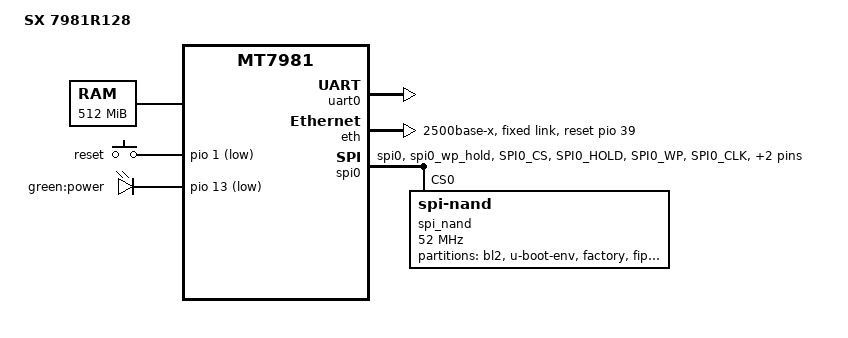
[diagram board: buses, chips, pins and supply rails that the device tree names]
// SPDX-License-Identifier: GPL-2.0-or-later
/*
 * SX 7981R128 U-Boot device tree
 * SoC:    MediaTek MT7981B (Cortex-A53 x2)
 * RAM:    512MB DDR3 (SK Hynix H5TQ4G63EFR-RDC, DDR3-1866)
 * Flash:  128MB SPIM-NAND
 * Switch: MediaTek MT7531 (reset GPIO 39)
 * GMAC0 -> MT7531 -> 2.5G LAN (port6) / 2.5G WAN (port5, via EN8801SC)
 */

/dts-v1/;
#include "mt7981.dtsi"
#include <dt-bindings/gpio/gpio.h>
#include <dt-bindings/input/linux-event-codes.h>

/ {
	model = "SX 7981R128";
	compatible = "sx,7981r128", "mediatek,mt7981";

	chosen {
		stdout-path = &uart0;
		tick-timer = &timer0;
	};

	memory@40000000 {
		device_type = "memory";
		reg = <0x40000000 0x20000000>;
	};

	gpio-keys {
		compatible = "gpio-keys";

		button-reset {
			label = "reset";
			linux,code = <KEY_RESTART>;
			gpios = <&pio 1 GPIO_ACTIVE_LOW>;
		};
	};

	gpio-leds {
		compatible = "gpio-leds";

		led-power {
			label = "green:power";
			gpios = <&pio 13 GPIO_ACTIVE_LOW>;
			default-state = "on";
		};
	};
};

&uart0 {
	mediatek,force-highspeed;
	status = "okay";
};

&eth {
	status = "okay";
	mediatek,gmac-id = <0>;
	phy-mode = "2500base-x";
	mediatek,switch = "mt7531";
	reset-gpios = <&pio 39 GPIO_ACTIVE_HIGH>;

	fixed-link {
		speed = <2500>;
		full-duplex;
	};
};

&pio {
	spi_flash_pins: spi0-pins-func-1 {
		mux {
			function = "flash";
			groups = "spi0", "spi0_wp_hold";
		};

		conf-pu {
			pins = "SPI0_CS", "SPI0_HOLD", "SPI0_WP";
			drive-strength = <MTK_DRIVE_8mA>;
			bias-pull-up = <MTK_PUPD_SET_R1R0_11>;
		};

		conf-pd {
			pins = "SPI0_CLK", "SPI0_MOSI", "SPI0_MISO";
			drive-strength = <MTK_DRIVE_8mA>;
			bias-pull-down = <MTK_PUPD_SET_R1R0_11>;
		};
	};
};

&spi0 {
	#address-cells = <1>;
	#size-cells = <0>;
	pinctrl-names = "default";
	pinctrl-0 = <&spi_flash_pins>;
	status = "okay";
	must_tx;
	enhance_timing;
	dma_ext;
	ipm_design;
	support_quad;
	tick_dly = <2>;
	sample_sel = <0>;

	spi_nand@0 {
		compatible = "spi-nand";
		reg = <0>;
		spi-max-frequency = <52000000>;

		partitions {
			compatible = "fixed-partitions";
			#address-cells = <1>;
			#size-cells = <1>;

			partition@0 {
				label = "bl2";
				reg = <0x0 0x100000>;
			};

			partition@100000 {
				label = "u-boot-env";
				reg = <0x100000 0x80000>;
			};

			partition@180000 {
				label = "factory";
				reg = <0x180000 0x200000>;
			};

			partition@380000 {
				label = "fip";
				reg = <0x380000 0x200000>;
			};

			partition@580000 {
				label = "ubi";
				reg = <0x580000 0x7200000>;
				compatible = "linux,ubi";
			};
		};
	};
};

&watchdog {
	status = "disabled";
};
